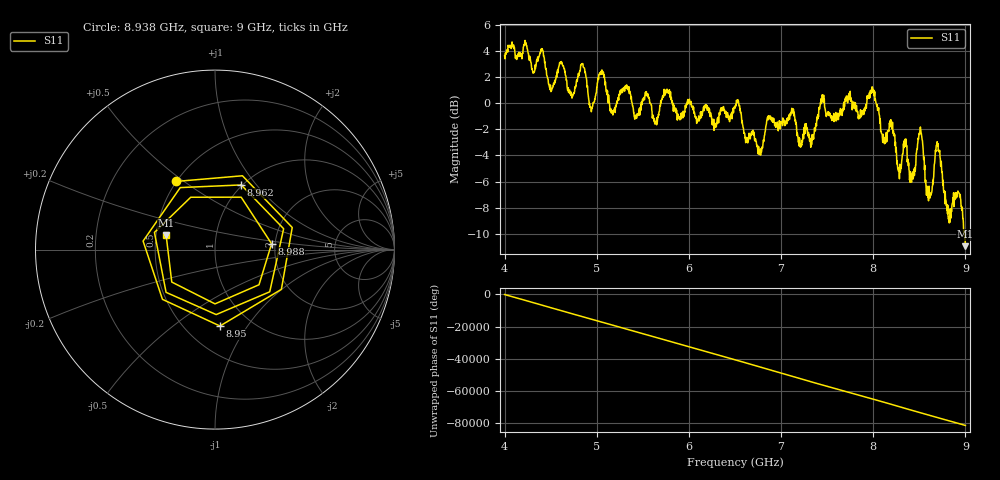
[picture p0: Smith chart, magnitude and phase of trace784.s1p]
! Created with skrf 1.8.0 (http://scikit-rf.org).
# Hz S RI R 50.0
!freq ReS11 ImS11
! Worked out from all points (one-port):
!   1601 points, 4 GHz to 9 GHz, reference 50 ohm
!   lowest |S11| = -10.9 dB at 9 GHz (marker M1), VSWR 1.79, Z = 28.3 + j4.9 ohm
!   |S11| at or under -10 dB: 8.988701 GHz to end of sweep
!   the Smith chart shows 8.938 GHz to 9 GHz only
!   S11 on the Smith chart (normalised r, x): 8.938 GHz: 0.50, +0.47; 8.95 GHz: 0.73, -0.76; 8.962 GHz: 0.99, +0.84; 8.988 GHz: 1.91, +0.14; 9 GHz: 0.57, +0.10
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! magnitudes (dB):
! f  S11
! 4 GHz  3.6
! 4.503 GHz  0.9
! 4.625 GHz  3.0
! 4.734 GHz  0.5
! 4.85 GHz  3.0
! 4.941 GHz  -0.7
! 5.047 GHz  2.4
! 5.162 GHz  -0.6
! 5.25 GHz  0.9
! 5.875 GHz  -1.3
! 6.5 GHz  -0.4
! 6.772 GHz  -3.9
! 7.125 GHz  -0.4
! 7.212 GHz  -3.3
! 7.75 GHz  0.9
! 7.991 GHz  1.1
! 8.109 GHz  -2.4
! 8.375 GHz  -4.3
! 8.438 GHz  -5.6
! 8.512 GHz  -1.8
! 8.597 GHz  -7.2
! 8.697 GHz  -3.2
! 8.819 GHz  -8.8
! 8.938 GHz  -7.2
! 8.95 GHz  -7.4
! 8.962 GHz  -8.2
! 8.988 GHz  -10.0
! 9 GHz  -10.9
